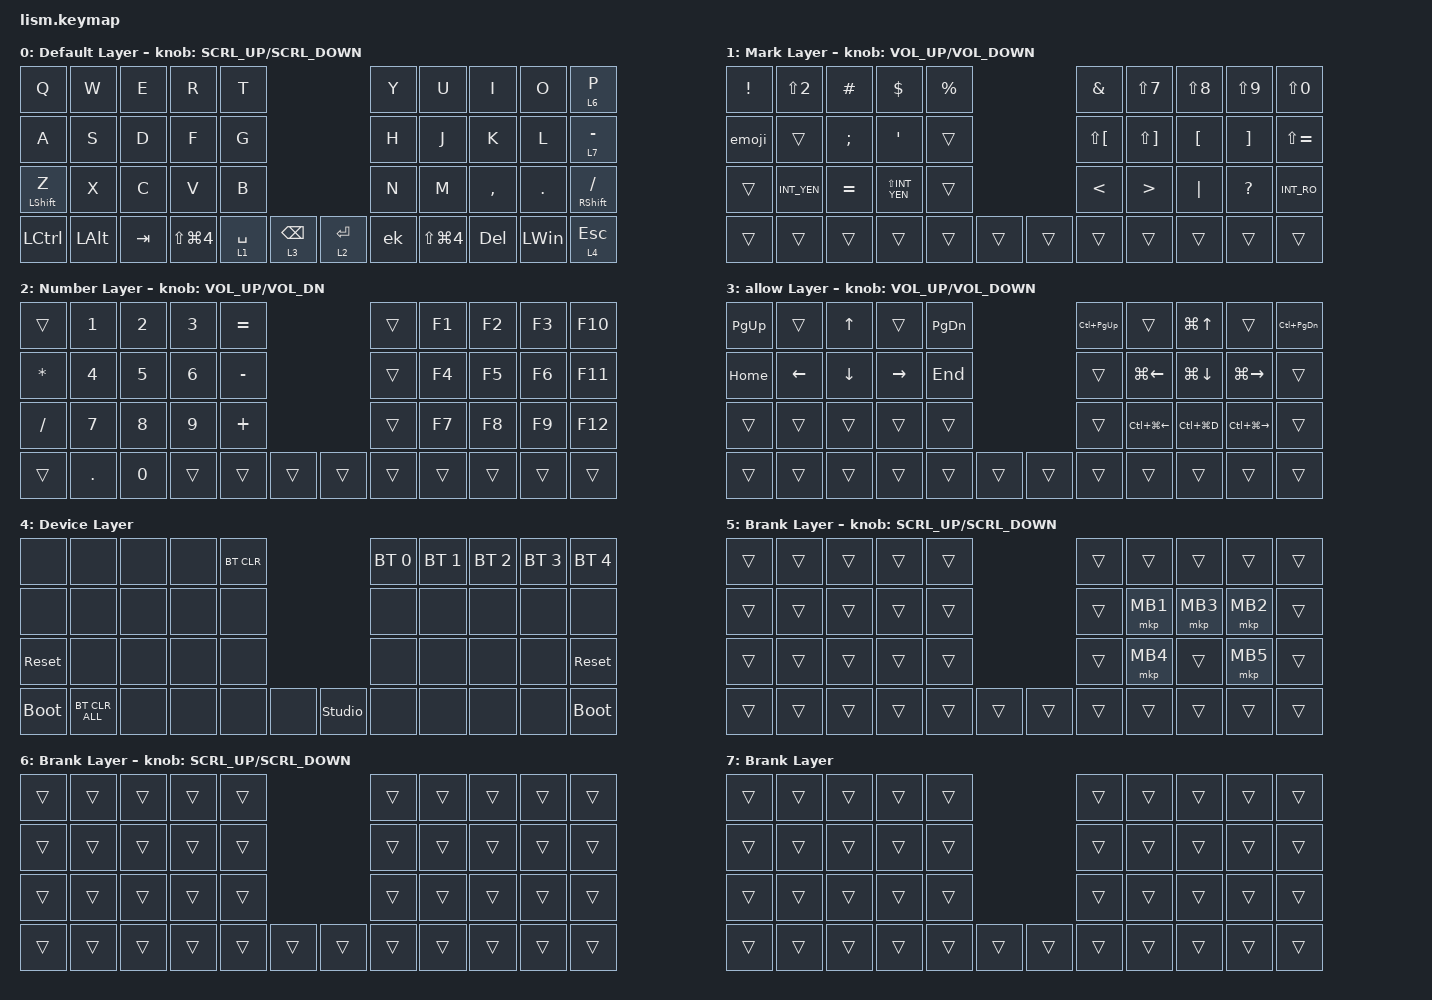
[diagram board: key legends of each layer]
#include <input/processors.dtsi>
#include <dt-bindings/zmk/mouse.h>
#include <behaviors.dtsi>
#include <dt-bindings/zmk/bt.h>
#include <dt-bindings/zmk/keys.h>
#include <dt-bindings/zmk/pointing.h>

#define ZMK_POINTING_DEFAULT_SCRL_VAL 200

&mt {
    tapping-term-ms = <300>;
    flavor = "balanced";
};

&lt { quick-tap-ms = <300>; };

/ {
    macros {
        emoji: emoji_macro {
            compatible = "zmk,behavior-macro";
            label = "EMOJI";
            #binding-cells = <0>;
            bindings =
                <&macro_press>,
                <&kp CAPSLOCK>,
                <&macro_tap>,
                <&kp E>,
                <&macro_release>,
                <&kp CAPSLOCK>;
        };
    };

    behaviors {
        ek: eisu_kana {
            compatible = "zmk,behavior-tap-dance";
            label = "Eisu / Kana";
            #binding-cells = <0>;
            bindings = <&kp LANGUAGE_2>, <&kp LANGUAGE_1>;

            tapping-term-ms = <250>;
        };
    };

    behaviors {
        encoder_msc: sensor_rotate_msc {
            compatible = "zmk,behavior-sensor-rotate-var";
            #sensor-binding-cells = <2>;
            bindings = <&msc>, <&msc>;

            tap-ms = <20>;
        };

        encoder_kp: sensor_rotate_kp {
            compatible = "zmk,behavior-sensor-rotate-var";
            #sensor-binding-cells = <2>;
            bindings = <&kp>, <&kp>;
        };
    };

    keymap {
        compatible = "zmk,keymap";

        default_layer {
            display-name = "Default Layer";
            bindings = <
&kp Q             &kp W         &kp E    &kp R           &kp T                                        &kp Y  &kp U           &kp I      &kp O         &lt 6 P
&kp A             &kp S         &kp D    &kp F           &kp G                                        &kp H  &kp J           &kp K      &kp L         &lt 7 MINUS
&mt LEFT_SHIFT Z  &kp X         &kp C    &kp V           &kp B                                        &kp N  &kp M           &kp COMMA  &kp DOT       &mt RIGHT_SHIFT SLASH
&kp LCTRL         &kp LEFT_ALT  &kp TAB  &kp LS(LG(N4))  &lt 1 SPACE  &lt 3 BACKSPACE    &lt 2 ENTER  &ek    &kp LS(LG(N4))  &kp DEL    &kp LEFT_WIN  &lt 4 ESC
            >;

            sensor-bindings = <&encoder_msc SCRL_UP SCRL_DOWN>;
        };

        layer_1 {
            display-name = "Mark Layer";
            bindings = <
&kp EXCL  &kp LS(N2)   &kp HASH   &kp DLLR         &kp PRCNT                    &kp AMPS      &kp LS(N7)    &kp LS(N8)  &kp LS(N9)    &kp LS(N0)
&emoji    &trans       &kp SEMI   &kp SQT          &trans                       &kp LS(LBKT)  &kp LS(RBKT)  &kp LBKT    &kp RBKT      &kp LS(EQUAL)
&trans    &kp INT_YEN  &kp EQUAL  &kp LS(INT_YEN)  &trans                       &kp LT        &kp GT        &kp PIPE    &kp QUESTION  &kp INT_RO
&trans    &trans       &trans     &trans           &trans     &trans    &trans  &trans        &trans        &trans      &trans        &trans
            >;

            sensor-bindings = <&inc_dec_kp C_VOLUME_UP C_VOLUME_DOWN>;
        };

        layer_2 {
            display-name = "Number Layer";
            bindings = <
&trans        &kp NUMBER_1  &kp NUMBER_2  &kp NUMBER_3  &kp EQUAL                    &trans  &kp F1  &kp F2  &kp F3  &kp F10
&kp ASTERISK  &kp NUMBER_4  &kp N5        &kp NUMBER_6  &kp MINUS                    &trans  &kp F4  &kp F5  &kp F6  &kp F11
&kp SLASH     &kp N7        &kp N8        &kp N9        &kp PLUS                     &trans  &kp F7  &kp F8  &kp F9  &kp F12
&trans        &kp DOT       &kp NUMBER_0  &trans        &trans     &trans    &trans  &trans  &trans  &trans  &trans  &trans
            >;

            sensor-bindings = <&encoder_kp C_VOL_UP C_VOL_DN>;
        };

        layer_3 {
            display-name = "allow Layer";
            bindings = <
&kp PAGE_UP  &trans    &kp UP    &trans     &kp PAGE_DOWN                    &kp LC(PAGE_UP)  &trans                  &kp LG(UP_ARROW)    &trans                   &kp LC(PAGE_DOWN)
&kp HOME     &kp LEFT  &kp DOWN  &kp RIGHT  &kp END                          &trans           &kp LG(LEFT_ARROW)      &kp LG(DOWN_ARROW)  &kp LG(RIGHT_ARROW)      &trans
&trans       &trans    &trans    &trans     &trans                           &trans           &kp LC(LG(LEFT_ARROW))  &kp LC(LG(D))       &kp LC(LG(RIGHT_ARROW))  &trans
&trans       &trans    &trans    &trans     &trans         &trans    &trans  &trans           &trans                  &trans              &trans                   &trans
            >;

            sensor-bindings = <&inc_dec_kp C_VOLUME_UP C_VOLUME_DOWN>;
        };

        layer_4 {
            display-name = "Device Layer";
            bindings = <
&none        &none           &none  &none  &bt BT_CLR                           &bt BT_SEL 0  &bt BT_SEL 1  &bt BT_SEL 2  &bt BT_SEL 3  &bt BT_SEL 4
&none        &none           &none  &none  &none                                &none         &none         &none         &none         &none
&sys_reset   &none           &none  &none  &none                                &none         &none         &none         &none         &sys_reset
&bootloader  &bt BT_CLR_ALL  &none  &none  &none       &none    &studio_unlock  &none         &none         &none         &none         &bootloader
            >;
        };

        mouse_layer {
            display-name = "Brank Layer";
            bindings = <
&trans  &trans  &trans  &trans  &trans                    &trans  &trans    &trans    &trans    &trans
&trans  &trans  &trans  &trans  &trans                    &trans  &mkp MB1  &mkp MB3  &mkp MB2  &trans
&trans  &trans  &trans  &trans  &trans                    &trans  &mkp MB4  &trans    &mkp MB5  &trans
&trans  &trans  &trans  &trans  &trans  &trans    &trans  &trans  &trans    &trans    &trans    &trans
            >;

            sensor-bindings = <&encoder_msc SCRL_UP SCRL_DOWN>;
        };

        layer_6 {
            display-name = "Brank Layer";
            bindings = <
&trans  &trans  &trans  &trans  &trans                    &trans  &trans  &trans  &trans  &trans
&trans  &trans  &trans  &trans  &trans                    &trans  &trans  &trans  &trans  &trans
&trans  &trans  &trans  &trans  &trans                    &trans  &trans  &trans  &trans  &trans
&trans  &trans  &trans  &trans  &trans  &trans    &trans  &trans  &trans  &trans  &trans  &trans
            >;

            sensor-bindings = <&encoder_msc SCRL_UP SCRL_DOWN>;
        };

        layer_7 {
            display-name = "Brank Layer";
            bindings = <
&trans  &trans  &trans  &trans  &trans                    &trans  &trans  &trans  &trans  &trans
&trans  &trans  &trans  &trans  &trans                    &trans  &trans  &trans  &trans  &trans
&trans  &trans  &trans  &trans  &trans                    &trans  &trans  &trans  &trans  &trans
&trans  &trans  &trans  &trans  &trans  &trans    &trans  &trans  &trans  &trans  &trans  &trans
            >;
        };
    };
};
